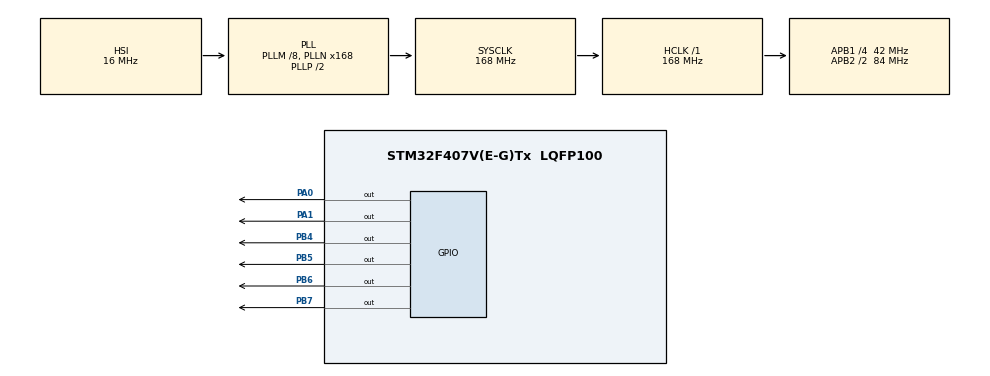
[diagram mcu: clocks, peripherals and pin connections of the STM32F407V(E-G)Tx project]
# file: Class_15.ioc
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Mcu.Family=STM32F4
Mcu.Name=STM32F407V(E-G)Tx
Mcu.Package=LQFP100
NVIC.PriorityGroup=NVIC_PRIORITYGROUP_4
PA0-WKUP.Signal=GPIO_Output
PA1.Signal=GPIO_Output
PA13.Mode=Serial_Wire
PA13.Signal=SYS_JTMS-SWDIO
PA14.Mode=Serial_Wire
PA14.Signal=SYS_JTCK-SWCLK
PB4.Signal=GPIO_Output
PB5.Signal=GPIO_Output
PB6.Signal=GPIO_Output
PB7.Signal=GPIO_Output
PH0-OSC_IN.Mode=HSE-External-Oscillator
PH0-OSC_IN.Signal=RCC_OSC_IN
PH1-OSC_OUT.Mode=HSE-External-Oscillator
PH1-OSC_OUT.Signal=RCC_OSC_OUT
ProjectManager.HeapSize=0x200
ProjectManager.StackSize=0x400
ProjectManager.TargetToolchain=STM32CubeIDE
RCC.48MHZClocksFreq_Value=84000000
RCC.AHBFreq_Value=168000000
RCC.APB1CLKDivider=RCC_HCLK_DIV4
RCC.APB1Freq_Value=42000000
RCC.APB1TimFreq_Value=84000000
RCC.APB2CLKDivider=RCC_HCLK_DIV2
RCC.APB2Freq_Value=84000000
RCC.APB2TimFreq_Value=168000000
RCC.CortexFreq_Value=168000000
RCC.HCLKFreq_Value=168000000
RCC.HSE_VALUE=8000000
RCC.HSI_VALUE=16000000
RCC.LSE_VALUE=32768
RCC.PLLM=8
RCC.PLLN=168
RCC.SYSCLKFreq_VALUE=168000000
RCC.SYSCLKSource=RCC_SYSCLKSOURCE_PLLCLK
RCC.VCOOutputFreq_Value=336000000
board=custom

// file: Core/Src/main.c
/* USER CODE BEGIN Header */
/**
  ******************************************************************************
  * @file           : main.c
  * @brief          : Main program body
  ******************************************************************************
  * @attention
  *
  * Copyright (c) 2023 STMicroelectronics.
  * All rights reserved.
  *
  * This software is licensed under terms that can be found in the LICENSE file
  * in the root directory of this software component.
  * If no LICENSE file comes with this software, it is provided AS-IS.
  *
  ******************************************************************************
  */
/* USER CODE END Header */
#include "main.h"

/* USER CODE BEGIN Includes */
#include "LCD.h"
#include "stdio.h"
/* USER CODE END Includes */

void SystemClock_Config(void);
static void MX_GPIO_Init(void);

int main(void)
{

  /* MCU Configuration--------------------------------------------------------*/

  /* Reset of all peripherals, Initializes the Flash interface and the Systick. */
  HAL_Init();

  /* Configure the system clock */
  SystemClock_Config();

  /* Initialize all configured peripherals */
  MX_GPIO_Init();
  /* USER CODE BEGIN 2 */
 LCD_Set4(GPIOA, GPIO_PIN_0,GPIO_PIN_1, GPIOB, GPIO_PIN_4,GPIO_PIN_5, GPIO_PIN_6,GPIO_PIN_7);
 LCD_Clear();
 LCD_1stLine();
 LCD_print("TIGER OZAN");
 LCD_2ndLine();
 LCD_print("XXXXXXXX ");

 char line1[16];
   int counter=0;
  /* USER CODE END 2 */

  /* Infinite loop */
  while (1)
  {

    /* USER CODE BEGIN 3 */
	  LCD_Clear();
	  	  counter++;
	  	  	sprintf(line1,"Counter = %d ",counter);
	  	  LCD_1stLine();
	  	LCD_print(line1);

	  	  	  //HAL_GPIO_TogglePin(LED_1_GPIO_Port, LED_1_Pin);
	  	  HAL_Delay(1000);
  }
  /* USER CODE END 3 */
}

void SystemClock_Config(void)
{
  RCC_OscInitTypeDef RCC_OscInitStruct = {0};
  RCC_ClkInitTypeDef RCC_ClkInitStruct = {0};

  /** Configure the main internal regulator output voltage
  */
  __HAL_RCC_PWR_CLK_ENABLE();
  __HAL_PWR_VOLTAGESCALING_CONFIG(PWR_REGULATOR_VOLTAGE_SCALE1);
  /** Initializes the RCC Oscillators according to the specified parameters
  * in the RCC_OscInitTypeDef structure.
  */
  RCC_OscInitStruct.OscillatorType = RCC_OSCILLATORTYPE_HSI;
  RCC_OscInitStruct.HSIState = RCC_HSI_ON;
  RCC_OscInitStruct.HSICalibrationValue = RCC_HSICALIBRATION_DEFAULT;
  RCC_OscInitStruct.PLL.PLLState = RCC_PLL_ON;
  RCC_OscInitStruct.PLL.PLLSource = RCC_PLLSOURCE_HSI;
  RCC_OscInitStruct.PLL.PLLM = 8;
  RCC_OscInitStruct.PLL.PLLN = 168;
  RCC_OscInitStruct.PLL.PLLP = RCC_PLLP_DIV2;
  RCC_OscInitStruct.PLL.PLLQ = 4;
  if (HAL_RCC_OscConfig(&RCC_OscInitStruct) != HAL_OK)
  {
    Error_Handler();
  }
  /** Initializes the CPU, AHB and APB buses clocks
  */
  RCC_ClkInitStruct.ClockType = RCC_CLOCKTYPE_HCLK|RCC_CLOCKTYPE_SYSCLK
                              |RCC_CLOCKTYPE_PCLK1|RCC_CLOCKTYPE_PCLK2;
  RCC_ClkInitStruct.SYSCLKSource = RCC_SYSCLKSOURCE_PLLCLK;
  RCC_ClkInitStruct.AHBCLKDivider = RCC_SYSCLK_DIV1;
  RCC_ClkInitStruct.APB1CLKDivider = RCC_HCLK_DIV4;
  RCC_ClkInitStruct.APB2CLKDivider = RCC_HCLK_DIV2;

  if (HAL_RCC_ClockConfig(&RCC_ClkInitStruct, FLASH_LATENCY_5) != HAL_OK)
  {
    Error_Handler();
  }
}

static void MX_GPIO_Init(void)
{
  GPIO_InitTypeDef GPIO_InitStruct = {0};

  /* GPIO Ports Clock Enable */
  __HAL_RCC_GPIOH_CLK_ENABLE();
  __HAL_RCC_GPIOA_CLK_ENABLE();
  __HAL_RCC_GPIOB_CLK_ENABLE();

  /*Configure GPIO pin Output Level */
  HAL_GPIO_WritePin(GPIOA, GPIO_PIN_0|GPIO_PIN_1, GPIO_PIN_RESET);

  /*Configure GPIO pin Output Level */
  HAL_GPIO_WritePin(GPIOB, GPIO_PIN_4|GPIO_PIN_5|GPIO_PIN_6|GPIO_PIN_7, GPIO_PIN_RESET);

  /*Configure GPIO pins : PA0 PA1 */
  GPIO_InitStruct.Pin = GPIO_PIN_0|GPIO_PIN_1;
  GPIO_InitStruct.Mode = GPIO_MODE_OUTPUT_PP;
  GPIO_InitStruct.Pull = GPIO_NOPULL;
  GPIO_InitStruct.Speed = GPIO_SPEED_FREQ_LOW;
  HAL_GPIO_Init(GPIOA, &GPIO_InitStruct);

  /*Configure GPIO pins : PB4 PB5 PB6 PB7 */
  GPIO_InitStruct.Pin = GPIO_PIN_4|GPIO_PIN_5|GPIO_PIN_6|GPIO_PIN_7;
  GPIO_InitStruct.Mode = GPIO_MODE_OUTPUT_PP;
  GPIO_InitStruct.Pull = GPIO_NOPULL;
  GPIO_InitStruct.Speed = GPIO_SPEED_FREQ_LOW;
  HAL_GPIO_Init(GPIOB, &GPIO_InitStruct);

}

void Error_Handler(void)
{
  __disable_irq();
  while (1)
  {
  }
}
